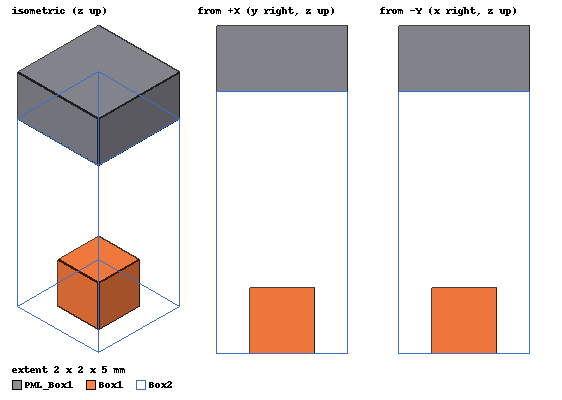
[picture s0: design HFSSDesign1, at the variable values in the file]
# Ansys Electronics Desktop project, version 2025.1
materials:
  vacuum: permittivity=1
  pec: conductivity=1e+30
  PMLGroup1_Z_1: permittivity{anisotropic component1=3.7911942 component2=3.7911942 component3=0.13188457} permeability{anisotropic component1=3.7911942 component2=3.7911942 component3=0.13188457} dielectric_loss_tangent{anisotropic component1=1 component2=1 component3=-1} magnetic_loss_tangent{anisotropic component1=1 component2=1 component3=-1}

design HFSSDesign1 (HFSS, Eigenmode, model units mm)
options: Allow_Material_Override
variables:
  post_w = 1mm
  post_h = 1mm
  p = 2mm
  air_h = 4mm
  px = 180deg
  py = 0deg
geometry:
  Box1 [pec] = box(corner=(-post_w/2, -post_w/2, 0mm), size=(post_w, post_w, post_h))
  Box2 [vacuum] = box(corner=(-p/2, -p/2, 0mm), size=(p, p, air_h))
  coordinate_system FaceCS1 = face of Box2: Origin=(0, 0, 4) FaceID=Box2.face(+z) AxisPosn=(0, -1, 4) WhichAxis=X ZRotationAngle=0deg XOffset=0mm YOffset=0mm FaceNormal(0, 0, 1)
  PML_Box1 [PMLGroup1_Z_1, oriented by FaceCS1] = sweep_along_normal(Box2.face(+z), length=1mm)
  group PMLGroup1 = PML_Box1
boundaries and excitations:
  Primary1: Primary Faces=Box2.face(-x) CoordSysVector{(-1, 1, 0) -> (-1, -1, 0)} ReverseV
  Secondary1: Secondary Faces=Box2.face(+x) CoordSysVector{(1, 1, 0) -> (1, -1, 0)} primary=Primary1 PhaseDelay=InputPhaseDelay Phase=px
  Primary2: Primary Faces=Box2.face(-y) CoordSysVector{(-1, -1, 0) -> (1, -1, 0)} ReverseV
  Secondary2: Secondary Faces=Box2.face(+y) CoordSysVector{(-1, 1, 0) -> (1, 1, 0)} primary=Primary2 PhaseDelay=InputPhaseDelay Phase=py
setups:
  Setup1: HfssEigen MinimumFrequency=40GHz NumModes=4 MaxDeltaFreq=10 ConvergeOnRealFreq=false MaximumPasses=25 MinimumPasses=3 MinimumConvergedPasses=2 PercentRefinement=30 BasisOrder=1
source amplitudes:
  #-10:1: 1 0deg
  #-10:2, #-10:3, #-10:4: 0 0deg
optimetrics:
  ParametricSetup3: Parametric Sim._Setups=[Setup1]
    sweep px: LIN 0deg 180deg 15deg (synchronised group 1)
    sweep py: LIN 0deg 180deg 15deg (synchronised group 1)
  ParametricSetup1: Parametric Sim._Setups=[Setup1]
    sweep px: LIN 0deg 180deg 15deg
  ParametricSetup2: Parametric Sim._Setups=[Setup1]
    sweep py: LIN 0deg 180deg 15deg
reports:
  Eigen Modes Plot1: re(Mode(1)), re(Mode(2)), re(Mode(3)), re(Mode(4)) vs py on Setup1 : LastAdaptive [px=all]
